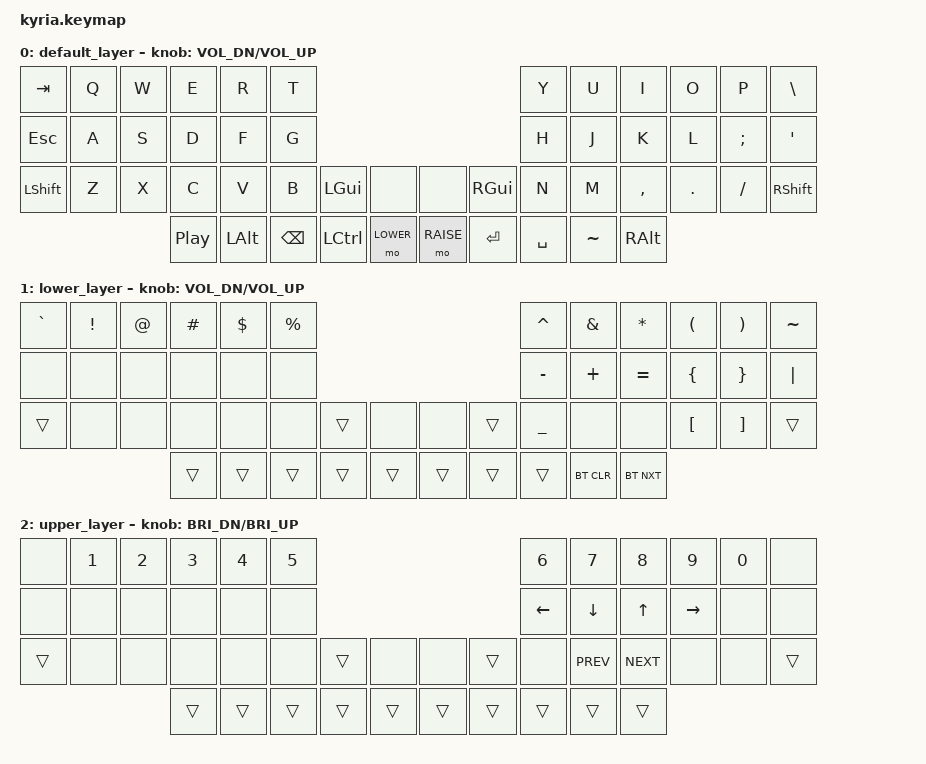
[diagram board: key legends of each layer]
/*
 * Copyright (c) 2020 The ZMK Contributors
 *
 * SPDX-License-Identifier: MIT
 */

#include <behaviors.dtsi>
#include <dt-bindings/zmk/keys.h>
#include <dt-bindings/zmk/bt.h>

#define DEFAULT 0
#define LOWER   1
#define RAISE   2

/ {
	keymap {
		compatible = "zmk,keymap";

		default_layer {
// ----------------------------------------------------------------------------------------------------------------------------------
// |  TAB  |  Q  |  W  |  E   |  R   |  T   |                                          |  Y    |  U    |  I    |  O   |   P   |   \  |
// |  ESC  |  A  |  S  |  D   |  F   |  G   |                                          |  H    |  J    |  K    |  L   |   ;   |   '  |
// | SHIFT |  Z  |  X  |  C   |  V   |  B   | LGUI    |         |  |         |    RGUI |  N    |  M    |  ,    |  .   |   /   | SHIFT |
//                     | PLAY | LOWER | BPSC | LCTRL  | LGUI    |  |    RGUI |   ENTER | SPACE | RAISE | BTNXT |

			bindings = <
	&kp TAB   &kp Q &kp W &kp E    &kp R     &kp T                                            &kp Y        &kp U      &kp I      &kp O      &kp P    &kp BSLH
	&kp ESC   &kp A &kp S &kp D    &kp F     &kp G                                            &kp H        &kp J      &kp K      &kp L      &kp SEMI &kp SQT
	&kp LSHFT &kp Z &kp X &kp C    &kp V     &kp B    &kp LGUI  &none     &none      &kp RGUI &kp N        &kp M      &kp COMMA  &kp DOT    &kp FSLH &kp RSHFT
	                      &kp C_PP &kp LALT &kp BSPC &kp LCTRL &mo LOWER  &mo RAISE  &kp RET  &kp SPACE    &kp TILDE  &kp RALT
			>;

			sensor-bindings = <&inc_dec_kp C_VOL_DN C_VOL_UP>;
		};

		lower_layer {
// ----------------------------------------------------------------------------------------------------------------------------------
// | `     |  !  |  @  |  #   |  $   |  %   |                                          |  ^    |  &    |  *    |  (   |   )   |  ~   |
// |       |     |     |      |      |      |                                          |  -    |  +    |  =    |  {   |   }   |  |   |
// |       |     |     |      |      |      | LGUI    |         |  |         | RGUI    |  _    |       |       |  [   |   ]   |      |
//                     | PLAY | LALT | BPSC | LCTRL   |  LOWER  |  |  RAISE  | ENTER   | SPACE | BTCLR | BTNXT |
			bindings = <
	&kp GRAVE &kp EXCL &kp AT &kp POUND   &kp DLLR &kp PRCNT                             &kp CARET &kp AMPS   &kp STAR  &kp LPAR &kp RPAR &kp TILDE
	&none     &none    &none  &none       &none    &none                                 &kp MINUS &kp PLUS   &kp EQUAL &kp LBRC &kp RBRC &kp PIPE
	&trans     &none    &none  &none      &none    &none  &trans &none     &none  &trans &kp UNDER &none      &none     &kp LBKT &kp RBKT &trans
			                      &trans      &trans   &trans &trans &trans    &trans &trans &trans    &bt BT_CLR &bt BT_NXT
			>;

			sensor-bindings = <&inc_dec_kp C_VOL_DN C_VOL_UP>;
		};

		upper_layer {
// ----------------------------------------------------------------------------------------------------------------------------------
// |       | 1   |  2  |  3   |  4   |  5   |                                          | 6     |  7    |  8    |  9    |  0   |      |
// |       |     |     |      |      |      |                                          |       | LEFT  | DOWN  | UP   | RIGHT |      |
// |       |     |     |      |      |      | LGUI    |         |  |         | RGUI    |       | CPREV | CNEXT |      |       |      |
//                     | PLAY | LALT | BPSC | LCTRL   |  LOWER  |  |  RAISE  | ENTER   | SPACE | BTCLR | BTNXT |
			bindings = <
	&none     &kp N1   &kp N2 &kp N3  &kp N4 &kp N5                                &kp N6    &kp N7    &kp N8     &kp N9      &kp N0    &none
	&none     &none    &none  &none   &none  &none                                 &kp LEFT  &kp DOWN   &kp UP      &kp RIGHT &none &none
	&trans    &none    &none  &none   &none  &none  &trans &none     &none &trans  &none     &kp C_PREV &kp C_NEXT  &none     &none &trans
			                      &trans  &trans &trans &trans &trans    &trans &trans &trans    &trans     &trans
			>;

			sensor-bindings = <&inc_dec_kp C_BRI_DN C_BRI_UP>;
		};
	};
};
